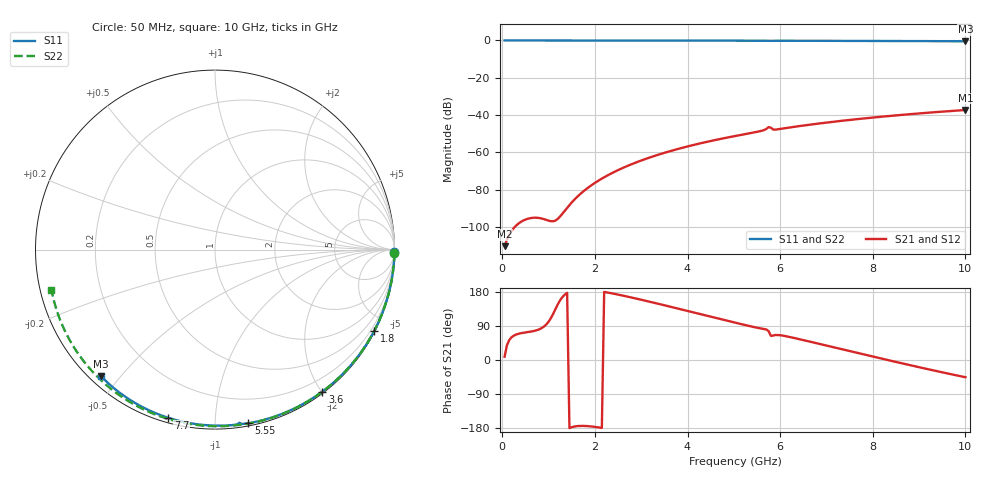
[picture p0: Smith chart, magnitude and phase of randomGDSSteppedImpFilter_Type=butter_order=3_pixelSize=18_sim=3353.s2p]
! freq	dB(S11)	phase(S11)	dB(S12)	phase(S12)
!  dB(S21)	phase(S21)	dB(S22)	phase(S22)
!S-par simulation data
#  GHz  S  DB  R 50
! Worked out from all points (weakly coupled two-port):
!   200 points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, 50 MHz to 10 GHz, reference 50 ohm
!   highest |S21| = -37.29 dB at 10 GHz (marker M1); lowest = -110.3 dB at 50 MHz (marker M2)
!   lowest |S11| = -0.5 dB at 10 GHz (marker M3), VSWR 38.17, Z = 1.57 - j22.2 ohm
!   |S11| at or under -10 dB: nowhere
!   |S22| runs from -0.6 to 0.0 dB; largest |S21 - S12| = 0
!   S11 on the Smith chart (normalised r, x): 50 MHz: open; 1.8 GHz: 0.04, -4.16; 3.6 GHz: 0.02, -2.01; 5.55 GHz: 0.02, -1.21; 7.7 GHz: 0.02, -0.76; 10 GHz: 0.03, -0.44
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0.05  -0.00 -0.8  -110.28 8.6  -110.28 8.6  -0.00 -1.0
0.85  -0.02 -12.9  -95.45 84.2  -95.45 84.2  -0.02 -16.3
1.75  -0.03 -26.3  -80.91 -173.9  -80.91 -173.9  -0.04 -33.2
1.8  -0.03 -27.1  -79.91 -174.1  -79.91 -174.1  -0.04 -34.1
2.1  -0.04 -31.5  -74.79 -178.3  -74.79 -178.3  -0.05 -39.6
2.5  -0.05 -37.3  -69.50 172.6  -69.50 172.6  -0.06 -46.9
2.9  -0.06 -43.0  -65.29 161.9  -65.29 161.9  -0.07 -54.1
3.4  -0.07 -50.1  -61.00 147.4  -61.00 147.4  -0.08 -62.8
3.6  -0.07 -52.9  -59.51 141.5  -59.51 141.5  -0.09 -66.3
4.3  -0.09 -62.5  -55.02 120.4  -55.02 120.4  -0.11 -78.2
5.05  -0.11 -72.5  -51.12 97.9  -51.12 97.9  -0.14 -90.4
5.55  -0.13 -79.1  -48.72 84.0  -48.72 84.0  -0.16 -98.4
5.65  -0.14 -80.5  -48.05 81.8  -48.05 81.8  -0.17 -100.0
5.75  -0.20 -81.9  -46.46 76.3  -46.46 76.3  -0.17 -101.6
5.8  -0.23 -82.0  -46.78 63.7  -46.78 63.7  -0.17 -102.4
5.85  -0.17 -82.5  -47.79 64.5  -47.79 64.5  -0.18 -103.1
5.9  -0.16 -83.2  -47.81 66.0  -47.81 66.0  -0.18 -103.9
6.7  -0.18 -93.4  -44.96 46.8  -44.96 46.8  -0.23 -116.2
7.7  -0.24 -105.5  -42.08 17.7  -42.08 17.7  -0.30 -131.3
8.35  -0.29 -113.1  -40.51 -0.9  -40.51 -0.9  -0.36 -141.1
9.2  -0.37 -122.9  -38.72 -24.5  -38.72 -24.5  -0.45 -153.9
10  -0.46 -132.1  -37.29 -45.5  -37.29 -45.5  -0.56 -166.3
